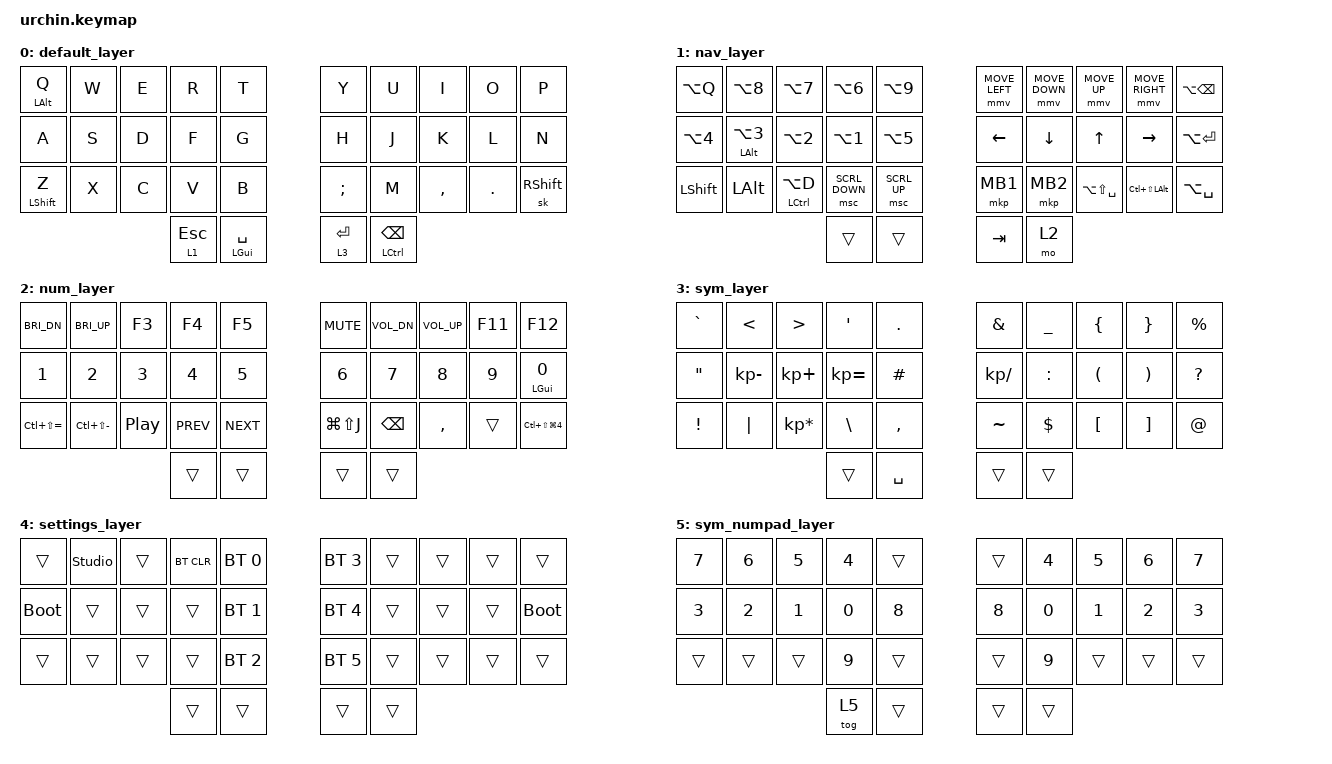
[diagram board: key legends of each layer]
#define ZMK_POINTING_DEFAULT_MOVE_VAL 1800  // 600 is default
#define ZMK_POINTING_DEFAULT_SCRL_VAL 10    // 10 is default

#include <behaviors.dtsi>
#include <dt-bindings/zmk/keys.h>
#include <dt-bindings/zmk/pointing.h>
#include <dt-bindings/zmk/bt.h>

/ {
    behaviors {
        mt_tap: mod_tap_tap_preferred {
            compatible = "zmk,behavior-hold-tap";
            label = "MOD_TAP_TAP_PREFERRED";
            #binding-cells = <2>;
            flavor = "tap-preferred";
            tapping-term-ms = <200>;
            quick-tap-ms = <200>;
            bindings = <&kp>, <&kp>;
        };

        mt_rep: mod_tap_repeat {
            compatible = "zmk,behavior-hold-tap";
            label = "MOD_TAP_REPEAT";
            #binding-cells = <2>;
            flavor = "balanced";
            tapping-term-ms = <200>;
            quick-tap-ms = <200>;
            bindings = <&kp>, <&kp>;
        };

        shft_l: shift_left {
            compatible = "zmk,behavior-hold-tap";
            label = "SHIFT_LEFT";
            #binding-cells = <2>;
            flavor = "balanced";
            tapping-term-ms = <175>;
            quick-tap-ms = <200>;
            bindings = <&kp>, <&kp>;
            hold-trigger-key-positions = <5 6 7 8 9 15 16 17 18 19 25 26 27 28 29 32 33>;
        };

        shft_r: shift_right {
            compatible = "zmk,behavior-hold-tap";
            label = "SHIFT_RIGHT";
            #binding-cells = <2>;
            flavor = "balanced";
            tapping-term-ms = <200>;
            quick-tap-ms = <200>;
            bindings = <&kp>, <&kp>;
            hold-trigger-key-positions = <0 1 2 3 4 10 11 12 13 14 20 21 22 23 24 30 31>;
        };

        lt_fast: layer_tap_fast {
            compatible = "zmk,behavior-hold-tap";
            label = "LAYER_TAP_FAST";
            #binding-cells = <2>;
            flavor = "balanced";
            tapping-term-ms = <150>;
            quick-tap-ms = <200>;
            bindings = <&mo>, <&kp>;
        };
    };
    combos {
        compatible = "zmk,combos";

        // M + COMMA = SPACE
        combo_space {
            timeout-ms = <50>;
            key-positions = <26 27>;
            bindings = <&kp SPACE>;
            layers = <0 1 2>;
        };

        // Hold both left thumbs to access Settings Layer (Layer 4)
        combo_settings {
            timeout-ms = <50>;
            key-positions = <30 31>;
            bindings = <&mo 4>;
        };

        // EXCL + PIPE = CARET (Symbol Layer Only)
        combo_caret {
            timeout-ms = <50>;
            key-positions = <20 21>;
            bindings = <&kp CARET>;
            layers = <3>;
        };

        // COMMA + DOT = Toggle Layer 5
        combo_num_toggle {
            timeout-ms = <50>;
            key-positions = <27 28>;
            bindings = <&tog 5>;
            layers = <0 5>;
        };

        // D + F = B
        combo_b {
            timeout-ms = <50>;
            key-positions = <12 13>;
            bindings = <&kp B>;
            layers = <0>;
        };
    };

    keymap {
        compatible = "zmk,keymap";

        // Layer 0: Base
        default_layer {
            bindings = <
            &mt_tap LALT Q  &kp W      &kp E      &kp R       &kp T          &kp Y       &kp U       &kp I       &kp O      &kp P
            &kp A           &kp S      &kp D      &kp F       &kp G          &kp H       &kp J       &kp K       &kp L      &kp N
            &shft_l LSHFT Z &kp X      &kp C      &kp V       &kp B          &kp SEMI    &kp M       &kp COMMA   &kp DOT    &sk RSHFT
                                                  &lt 1 ESC   &mt_rep LGUI SPACE &lt_fast 3 RET   &mt_rep LCTRL BSPC
            >;
        };

        // Layer 1: Nav & Mouse
        nav_layer {
            bindings = <
            &kp LA(Q)  &kp LA(N8)      &kp LA(N7) &kp LA(N6)  &kp LA(N9)      &mmv MOVE_LEFT &mmv MOVE_DOWN &mmv MOVE_UP   &mmv MOVE_RIGHT &kp LA(BSPC)
            &kp LA(N4) &mt LALT LA(N3) &kp LA(N2) &kp LA(N1)  &kp LA(N5)      &kp LEFT       &kp DOWN       &kp UP         &kp RIGHT       &kp LA(RET)
            &kp LSHFT  &kp LALT        &mt_tap LCTRL LA(D)  &msc SCRL_DOWN &msc SCRL_UP       &mkp MB1       &mkp MB2       &kp LA(LS(SPACE)) &kp LC(LS(LALT))  &kp LA(SPACE)
                                                  &trans      &trans          &kp TAB        &mo 2
            >;
        };

        // Layer 2: Numpad & Media & Function
        num_layer {
            bindings = <
            &kp C_BRI_DN      &kp C_BRI_UP      &kp F3   &kp F4   &kp F5         &kp C_MUTE &kp C_VOL_DN &kp C_VOL_UP &kp F11  &kp F12
            &kp N1            &kp N2            &kp N3   &kp N4   &kp N5         &kp N6     &kp N7       &kp N8       &kp N9   &mt_tap LGUI N0
            &kp LC(LS(EQUAL)) &kp LC(LS(MINUS)) &kp C_PP &kp C_PREV &kp C_NEXT       &kp LG(LS(J))  &kp BSPC     &kp COMMA    &trans   &kp LC(LS(LG(N4)))
                                                         &trans   &trans         &trans     &trans
            >;
        };

        // Layer 3: Symbols
        sym_layer {
            bindings = <
            &kp GRAVE &kp LT          &kp GT          &kp SQT      &kp DOT       &kp AMPS  &kp UNDER &kp LBRC &kp RBRC &kp PRCNT
            &kp DQT   &kp KP_SUBTRACT &kp KP_PLUS     &kp KP_EQUAL &kp HASH      &kp KP_DIVIDE &kp COLON &kp LPAR &kp RPAR &kp QMARK
            &kp EXCL  &kp PIPE        &kp KP_MULTIPLY &kp BSLH     &kp COMMA     &kp TILDE &kp DLLR  &kp LBKT &kp RBKT &kp AT
                                                      &trans       &kp SPACE     &trans    &trans
            >;
        };

        // Layer 4: Settings (Bluetooth & Bootloader)
        settings_layer {
            bindings = <
            &trans       &studio_unlock &trans       &bt BT_CLR   &bt BT_SEL 0       &bt BT_SEL 3   &trans       &trans       &trans       &trans
            &bootloader  &trans       &trans       &trans       &bt BT_SEL 1       &bt BT_SEL 4   &trans       &trans       &trans       &bootloader
            &trans       &trans       &trans       &trans       &bt BT_SEL 2       &bt BT_SEL 5   &trans       &trans       &trans       &trans
                                                   &trans       &trans             &trans         &trans
            >;
        };

        // Layer 5: Symmetrical Numpad
        sym_numpad_layer {
            bindings = <
            &kp N7  &kp N6  &kp N5  &kp N4  &trans          &trans  &kp N4  &kp N5  &kp N6  &kp N7
            &kp N3  &kp N2  &kp N1  &kp N0  &kp N8          &kp N8  &kp N0  &kp N1  &kp N2  &kp N3
            &trans  &trans  &trans  &kp N9  &trans          &trans  &kp N9  &trans  &trans  &trans
                                    &tog 5  &trans          &trans  &trans
            >;
        };
    };
};

// Custom Mouse Move configuration
&mmv {
    time-to-max-speed-ms = <300>;
    acceleration-exponent = <1>;
};
